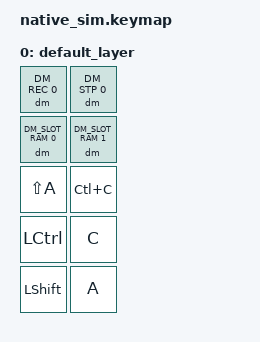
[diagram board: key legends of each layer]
#include <dt-bindings/zmk/keys.h>
#include <behaviors.dtsi>
#include <dt-bindings/zmk/kscan_mock.h>
#include <behaviors/dynamic_macro.dtsi>
#include <dt-bindings/zmk/dynamic_macros.h>

/*
 * Regression guard for ordinary modifier chords. The mod-morph fix must NOT
 * strip the modifier from genuine chords. Two encodings are exercised:
 *
 *   - encoded mod:  &kp LC(C) / &kp LS(A) -> a single keycode event that
 *     carries the modifier in implicit_mods.
 *   - separate keys: &kp LCTRL then &kp C (and &kp LSHFT then &kp A) -> a bare
 *     modifier event surrounding the base key, with no mod on the base key.
 *
 * All must record and replay with the modifier intact. The separate-key cases
 * matter most: a bare modifier here must be KEPT, whereas the morph fix drops a
 * bare modifier that the morph masked out of the HID report.
 */

&kscan {
    rows = <5>;
    columns = <2>;
    exit-after;
    events = <
        /* REC */
        ZMK_MOCK_PRESS(0,0,10)
        ZMK_MOCK_RELEASE(0,0,10)
        /* Capital A via encoded shift: &kp LS(A) */
        ZMK_MOCK_PRESS(2,0,10)
        ZMK_MOCK_RELEASE(2,0,10)
        /* Ctrl+C via encoded ctrl: &kp LC(C) */
        ZMK_MOCK_PRESS(2,1,10)
        ZMK_MOCK_RELEASE(2,1,10)
        /* Ctrl+C via separate keys: hold LCTRL, tap C, release LCTRL */
        ZMK_MOCK_PRESS(3,0,10)
        ZMK_MOCK_PRESS(3,1,10)
        ZMK_MOCK_RELEASE(3,1,10)
        ZMK_MOCK_RELEASE(3,0,10)
        /* Capital A via separate keys: hold LSHFT, tap A, release LSHFT */
        ZMK_MOCK_PRESS(4,0,10)
        ZMK_MOCK_PRESS(4,1,10)
        ZMK_MOCK_RELEASE(4,1,10)
        ZMK_MOCK_RELEASE(4,0,10)
        /* STP */
        ZMK_MOCK_PRESS(0,1,10)
        ZMK_MOCK_RELEASE(0,1,10)
        /* Assign to RAM slot 0 */
        ZMK_MOCK_PRESS(1,0,10)
        ZMK_MOCK_RELEASE(1,0,10)
        /* Play RAM slot 0: replays both chords with modifiers intact */
        ZMK_MOCK_PRESS(1,0,2000)
        ZMK_MOCK_RELEASE(1,0,10)
    >;
};

/ {
    keymap {
        compatible = "zmk,keymap";
        default_layer {
            bindings = <
                &dm DM_REC 0        &dm DM_STP 0
                &dm DM_SLOT_RAM 0   &dm DM_SLOT_RAM 1
                &kp LS(A)           &kp LC(C)
                &kp LCTRL           &kp C
                &kp LSHFT           &kp A
            >;
        };
    };
};
